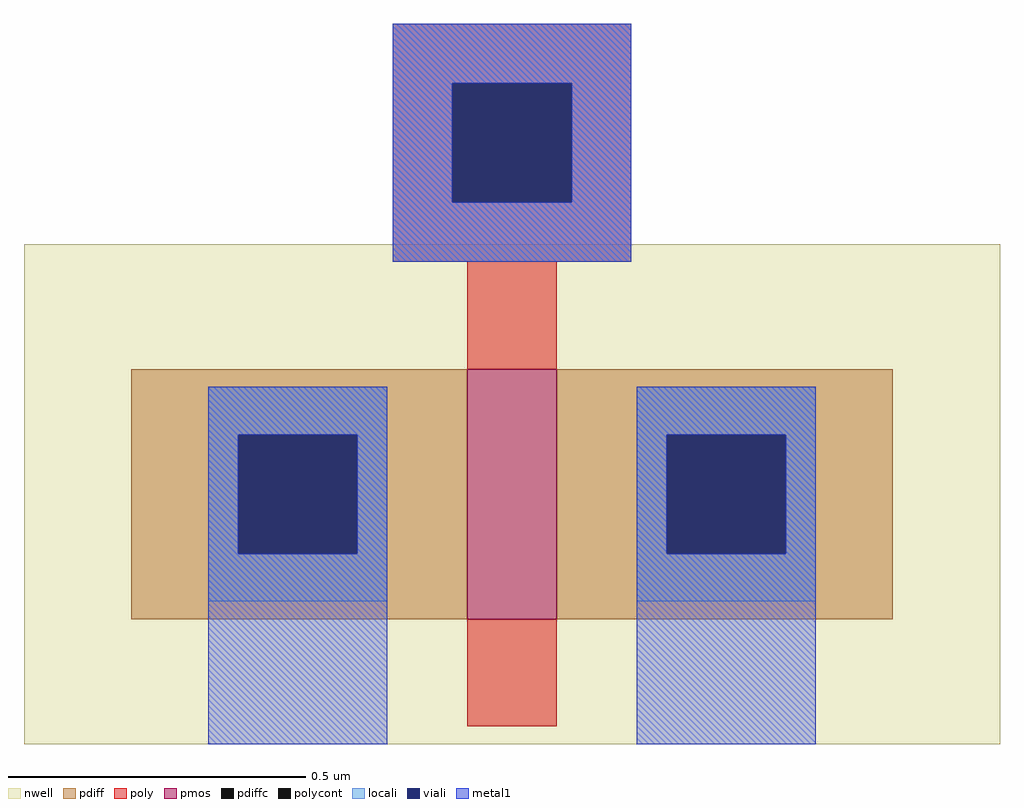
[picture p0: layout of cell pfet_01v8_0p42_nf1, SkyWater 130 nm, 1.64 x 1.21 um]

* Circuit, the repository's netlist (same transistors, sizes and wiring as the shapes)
* NGSPICE file created from pfet_01v8_0p42_nf1.ext - technology: sky130A

.subckt pfet_01v8_0p42_nf1
X0 a_143_0# a_88_120# a_0_0# w_n36_n42# sky130_fd_pr__pfet_01v8 ad=0.237 pd=1.97 as=0.237 ps=1.97 w=0.42 l=0.15
.ends

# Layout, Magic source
magic
tech sky130A
magscale 1 2
<< nwell >>
rect -92 383 236 551
<< pmos >>
rect 57 425 87 509
<< pdiff >>
rect -56 487 57 509
rect -56 447 -20 487
rect 20 447 57 487
rect -56 425 57 447
rect 87 487 200 509
rect 87 447 124 487
rect 164 447 200 487
rect 87 425 200 447
<< pdiffc >>
rect -20 447 20 487
rect 124 447 164 487
<< poly >>
rect 32 605 112 625
rect 32 565 52 605
rect 92 565 112 605
rect 32 545 112 565
rect 57 509 87 545
rect 57 389 87 425
<< polycont >>
rect 52 565 92 605
<< locali >>
rect 32 605 112 625
rect 32 565 52 605
rect 92 565 112 605
rect 32 545 112 565
rect -30 487 30 503
rect -30 447 -20 487
rect 20 447 30 487
rect -30 431 30 447
rect 114 487 174 503
rect 114 447 124 487
rect 164 447 174 487
rect 114 431 174 447
<< viali >>
rect 52 565 92 605
rect -20 447 20 487
rect 124 447 164 487
<< metal1 >>
rect 32 605 112 625
rect 32 565 52 605
rect 92 565 112 605
rect 32 545 112 565
rect -30 487 30 503
rect -30 447 -20 487
rect 20 447 30 487
rect -30 383 30 447
rect 114 487 174 503
rect 114 447 124 487
rect 164 447 174 487
rect 114 383 174 447
<< end >>
